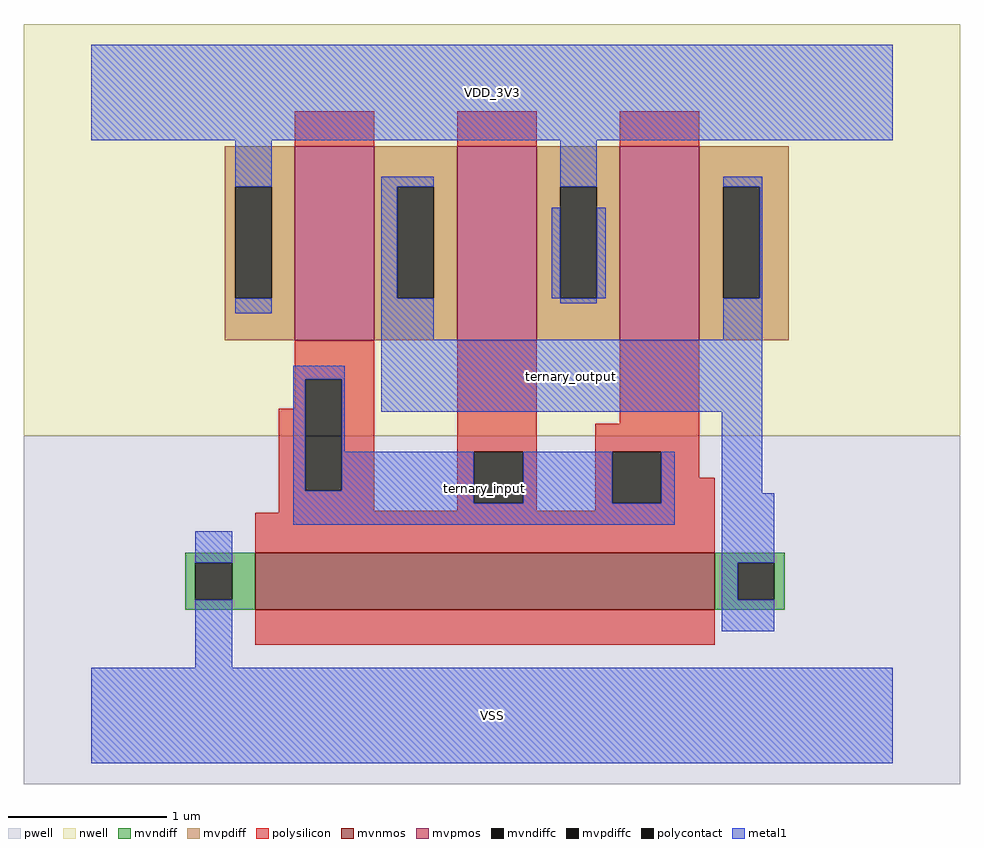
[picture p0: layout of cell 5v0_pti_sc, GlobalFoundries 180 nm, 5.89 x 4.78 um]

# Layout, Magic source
magic
tech gf180mcuD
magscale 1 10
<< nwell >>
rect -253 296 925 814
<< pwell >>
rect -253 -142 925 296
<< mvnmos >>
rect 38 77 616 149
<< mvpmos >>
rect 88 416 188 660
rect 292 416 392 660
rect 497 416 597 660
<< mvndiff >>
rect -50 136 38 149
rect -50 90 -37 136
rect 9 90 38 136
rect -50 77 38 90
rect 616 136 704 149
rect 616 90 645 136
rect 691 90 704 136
rect 616 77 704 90
<< mvpdiff >>
rect 0 609 88 660
rect 0 469 13 609
rect 59 469 88 609
rect 0 416 88 469
rect 188 609 292 660
rect 188 469 217 609
rect 263 469 292 609
rect 188 416 292 469
rect 392 609 497 660
rect 392 469 422 609
rect 468 469 497 609
rect 392 416 497 469
rect 597 609 709 660
rect 597 469 627 609
rect 673 469 709 609
rect 597 416 709 469
<< mvndiffc >>
rect -37 90 9 136
rect 645 90 691 136
<< mvpdiffc >>
rect 13 469 59 609
rect 217 469 263 609
rect 422 469 468 609
rect 627 469 673 609
<< polysilicon >>
rect 88 660 188 704
rect 292 660 392 704
rect 497 660 597 704
rect 88 367 188 416
rect 88 330 101 367
rect 68 227 101 330
rect 147 227 188 367
rect 68 202 188 227
rect 292 276 392 416
rect 497 311 597 416
rect 292 211 313 276
rect 375 211 392 276
rect 292 202 392 211
rect 466 276 597 311
rect 466 211 487 276
rect 549 243 597 276
rect 549 211 616 243
rect 466 202 616 211
rect 68 199 616 202
rect 38 149 616 199
rect 38 33 616 77
<< polycontact >>
rect 101 227 147 367
rect 313 211 375 276
rect 487 211 549 276
<< metal1 >>
rect -168 668 840 788
rect 13 609 59 668
rect 13 450 59 469
rect 197 609 263 622
rect 197 469 217 609
rect 422 609 468 668
rect 411 469 422 583
rect 627 609 676 622
rect 468 469 479 583
rect 673 469 676 609
rect 197 417 263 469
rect 422 463 468 469
rect 627 417 676 469
rect 86 367 151 384
rect 86 227 101 367
rect 147 276 151 367
rect 197 326 676 417
rect 147 227 313 276
rect 86 211 313 227
rect 375 211 487 276
rect 549 211 566 276
rect 86 184 566 211
rect 625 224 676 326
rect -37 136 9 176
rect -37 4 9 90
rect 625 136 691 224
rect 625 90 645 136
rect 625 50 691 90
rect -168 -116 840 4
<< labels >>
rlabel metal1 -168 -116 840 4 1 VSS
port 8 n ground bidirectional
rlabel metal1 -168 668 840 788 1 VDD_3V3
port 9 n power bidirectional
rlabel pwell 86 184 566 276 1 ternary_input
port 10 n signal bidirectional
rlabel nwell 196 325 676 417 1 ternary_output
port 11 n signal bidirectional
<< end >>
